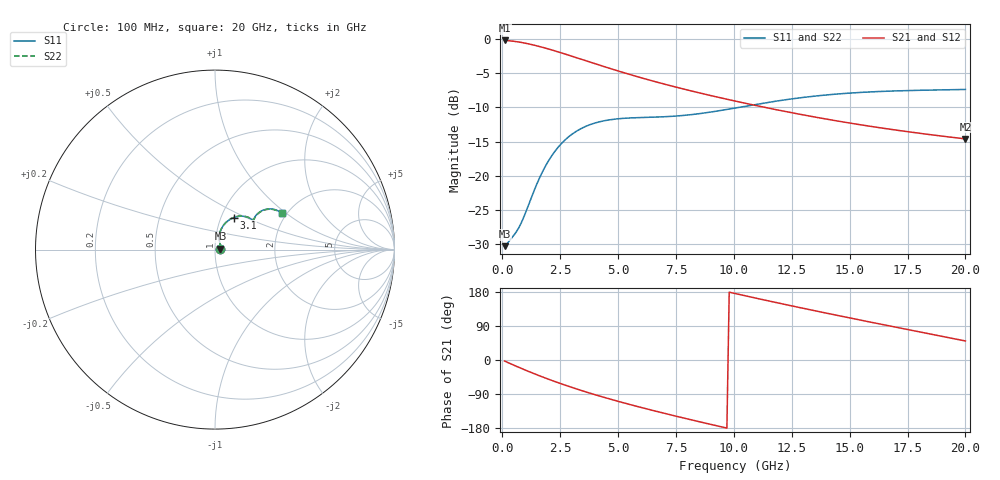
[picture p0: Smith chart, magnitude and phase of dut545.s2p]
! Touchstone file exported from HFSS 2024.1.0
!  File:  C:/UserFiles/LocalFiles/RDL_TSV_Batchsim/temp_RDL_TSV_545_1779748088.aedt
!  Generated:  06:47:01 AM May 26, 2026
!  Design:  RDL_TSV
!  Project:  temp_RDL_TSV_545_1779748088
!  Setup:  Setup1
!  Solution:  Sweep
! Variables:
!  dtsv = 11.88um
!  hbump = 3um
!  htsv = 91.96um
!  ldown = 595.62um
!  lrdl = 643.54um
!  p = 40
!  p1 = 56.54um
!  rhole = 10um
!  subl = 4361.02um
!  t = 450um
!  tdown = 2.04um
!  trdl = 3.2um
!  viad = 10um
!  wdown = 26.02um
!  wrdl = 15um
!  xbump = 18um
# GHz S MA R 50.000000
! Terminal data exported
! Port[1] = TM1_1_T1
! Port[2] = TM1_4_T1
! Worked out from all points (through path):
!   200 points, 100 MHz to 20 GHz, reference 50 ohm
!   highest |S21| = -0.27 dB at 100 MHz (marker M1); lowest = -14.6 dB at 20 GHz (marker M2)
!   group delay of S21, straight-line fit = 40.6 ps
!   lowest |S11| = -30.2 dB at 100 MHz (marker M3), VSWR 1.06, Z = 53.1 + j0.498 ohm
!   |S11| at or under -10 dB: start of sweep to 10.25 GHz
!   |S22| runs from -30.2 to -7.4 dB; largest |S21 - S12| = 6.6e-15
!   S11 on the Smith chart (normalised r, x): 100 MHz: 1.06, +0.01; 3.1 GHz: 1.15, +0.43; 20 GHz: 1.89, +0.94
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0.1  0.03074 8.8  0.969 -2.8  0.969 -2.8  0.03074 8.8
! Gamma 0 0 0 0
! Port Impedance 50 0 50 0
0.4  0.03516 29.7  0.9602 -11.0  0.9602 -11.0  0.03515 29.7
0.8  0.04475 53.2  0.9389 -21.6  0.9389 -21.6  0.04474 53.3
1.2  0.06565 69.1  0.91 -31.8  0.91 -31.8  0.06572 69.2
1.6  0.09585 73.8  0.8761 -41.5  0.8761 -41.5  0.09603 73.9
1.9  0.1207 73.0  0.8486 -48.5  0.8486 -48.5  0.121 73.1
2.3  0.153 69.4  0.8108 -57.5  0.8108 -57.5  0.1534 69.6
2.7  0.1819 64.7  0.7727 -66.1  0.7727 -66.1  0.1825 64.8
3.1  0.2061 59.8  0.7353 -74.3  0.7353 -74.3  0.2068 59.9
3.5  0.2252 55.1  0.6992 -82.1  0.6992 -82.1  0.2261 55.2
4.3  0.2499 47.3  0.6325 -96.9  0.6325 -96.9  0.2511 47.4
5.1  0.2613 41.9  0.5742 -110.7  0.5742 -110.7  0.2627 41.9
5.9  0.2657 38.8  0.5238 -123.8  0.5238 -123.8  0.2672 38.8
6.8  0.2686 37.6  0.4755 -137.7  0.4755 -137.7  0.2702 37.5
7.5  0.2726 37.9  0.4429 -148.2  0.4429 -148.2  0.2742 37.7
8.3  0.2809 38.8  0.4101 -159.9  0.4101 -159.9  0.2823 38.5
10.1  0.3129 40.2  0.3492 174.8  0.3492 174.8  0.3137 39.9
11.7  0.3475 39.3  0.3065 153.2  0.3065 153.2  0.3477 39.0
13.4  0.3794 36.7  0.27 131.2  0.27 131.2  0.3792 36.4
15  0.4007 33.8  0.2425 111.1  0.2425 111.1  0.4001 33.6
16.7  0.4141 31.2  0.2191 90.2  0.2191 90.2  0.4133 31.0
20  0.426 28.4  0.1859 50.2  0.1859 50.2  0.4249 28.3
